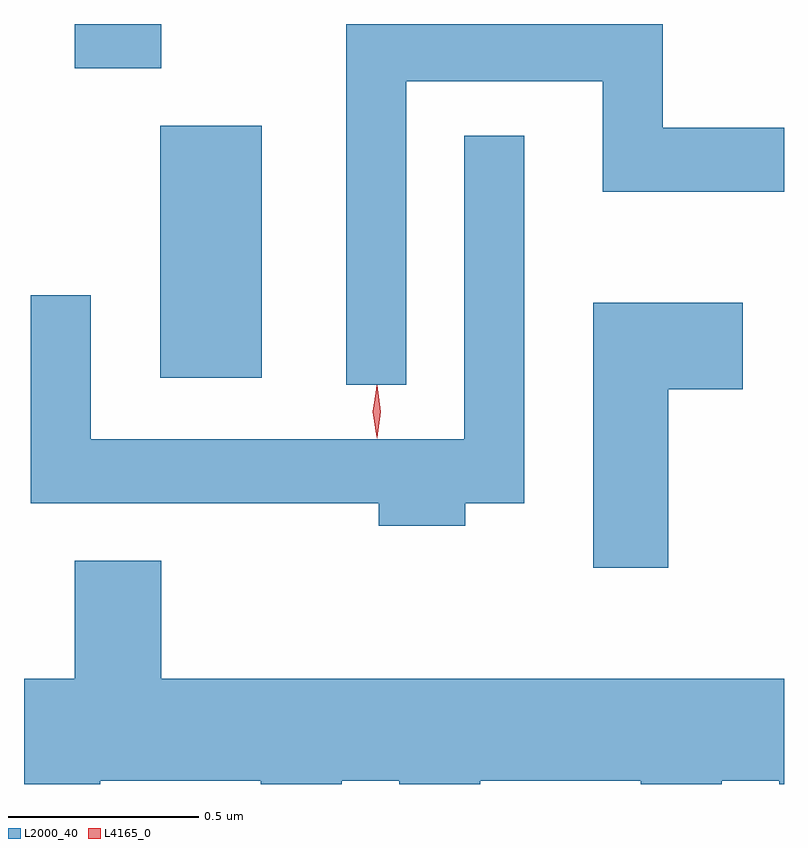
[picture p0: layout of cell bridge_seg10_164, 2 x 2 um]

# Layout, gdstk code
import gdstk
lib = gdstk.Library(unit=1e-6, precision=1e-09)
def R(c, l, rs):  # rectangles x0, y0, x1, y1
    for r in rs: c.add(gdstk.rectangle(r[:2], r[2:], *l))
def P(c, l, *ps):  # polygons
    for p in ps: c.add(gdstk.Polygon(p, *l))
L2000_40 = (2000, 40)
L4165_0 = (4165, 0)

bridge_seg10_164 = lib.new_cell('bridge_seg10_164')
R(bridge_seg10_164, L2000_40, [(1559.106,2112.756,1559.374,2113.419), (1558.881,2113.571,1559.109,2113.687)])
P(bridge_seg10_164, L2000_40, [(1559.754,2113.536),(1560.271,2113.536),(1560.271,2113.246),(1560.748,2113.246),(1560.748,2113.414),(1560.429,2113.414),(1560.429,2113.687),(1559.596,2113.687),(1559.596,2112.738),(1559.754,2112.738)],
  [(1559.909,2112.426),(1560.064,2112.426),(1560.064,2113.393),(1559.906,2113.393),(1559.906,2112.594),(1558.924,2112.594),(1558.924,2112.973),(1558.766,2112.973),(1558.766,2112.426),(1559.681,2112.426),(1559.681,2112.366),(1559.909,2112.366)],
  [(1560.444,2112.726),(1560.639,2112.726),(1560.639,2112.954),(1560.246,2112.954),(1560.246,2112.256),(1560.444,2112.256)],
  [(1558.949,2111.696),(1559.371,2111.696),(1559.371,2111.687),(1559.584,2111.687),(1559.584,2111.696),(1559.736,2111.696),(1559.736,2111.687),(1559.949,2111.687),(1559.949,2111.696),(1560.371,2111.696),(1560.371,2111.687),(1560.584,2111.687),(1560.584,2111.696),(1560.736,2111.696),(1560.736,2111.687),(1560.748,2111.687),(1560.748,2111.964),(1559.109,2111.964),(1559.109,2112.274),(1558.881,2112.274),(1558.881,2111.964),(1558.748,2111.964),(1558.748,2111.687),(1558.949,2111.687)])
P(bridge_seg10_164, L4165_0, [(1559.677,2112.597),(1559.677,2112.598),(1559.667,2112.667),(1559.676,2112.736),(1559.677,2112.736),(1559.677,2112.736),(1559.687,2112.667),(1559.678,2112.598)],
  [(1559.676,2112.599),(1559.676,2112.6),(1559.666,2112.666),(1559.676,2112.732),(1559.676,2112.733),(1559.677,2112.732),(1559.686,2112.666),(1559.677,2112.6)])

lib.write_gds('bridge_seg10_164.gds')
